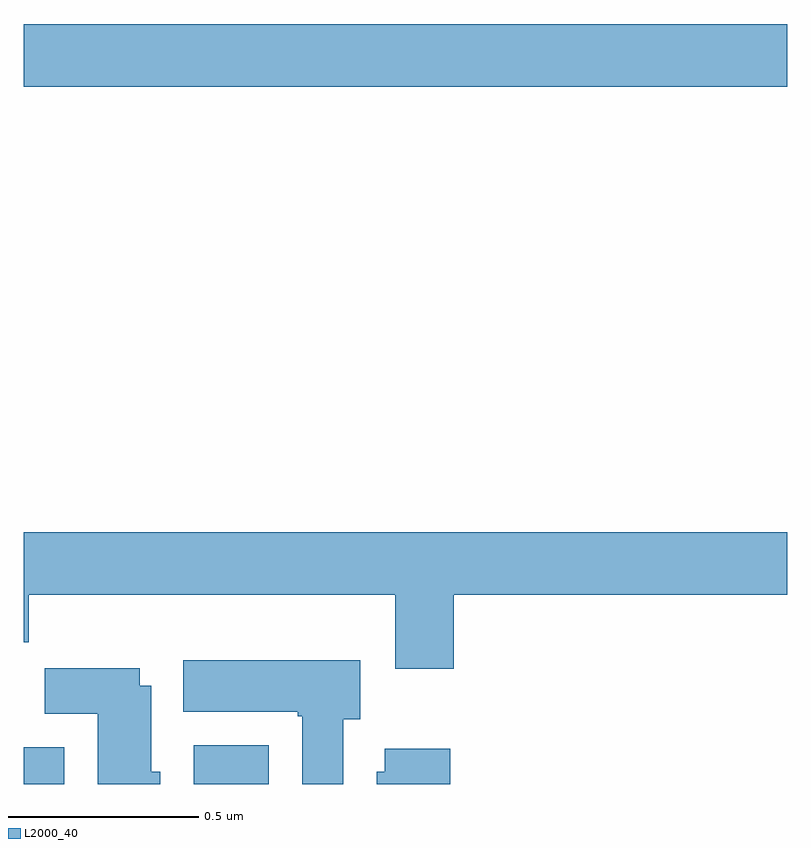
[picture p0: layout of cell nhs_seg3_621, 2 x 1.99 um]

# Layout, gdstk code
import gdstk
lib = gdstk.Library(unit=1e-6, precision=1e-09)
def R(c, l, rs):  # rectangles x0, y0, x1, y1
    for r in rs: c.add(gdstk.rectangle(r[:2], r[2:], *l))
def P(c, l, *ps):  # polygons
    for p in ps: c.add(gdstk.Polygon(p, *l))
L2000_40 = (2000, 40)

nhs_seg3_621 = lib.new_cell('nhs_seg3_621')
R(nhs_seg3_621, L2000_40, [(118,720.4,118.105,720.496), (118.445,720.4,118.642,720.502), (118,722.228,120,722.392)])
P(nhs_seg3_621, L2000_40, [(119.126,720.896),(120,720.896),(120,721.06),(118,721.06),(118,720.772),(118.013,720.772),(118.013,720.896),(118.973,720.896),(118.973,720.702),(119.126,720.702)],
  [(118.837,720.57),(118.882,720.57),(118.882,720.724),(118.418,720.724),(118.418,720.59),(118.717,720.59),(118.717,720.577),(118.73,720.577),(118.73,720.4),(118.837,720.4)],
  [(118.357,720.432),(118.333,720.432),(118.333,720.658),(118.303,720.658),(118.303,720.703),(118.054,720.703),(118.054,720.584),(118.193,720.584),(118.193,720.4),(118.357,720.4)],
  [(119.117,720.493),(118.946,720.493),(118.946,720.432),(118.925,720.432),(118.925,720.4),(119.117,720.4)])

lib.write_gds('nhs_seg3_621.gds')
